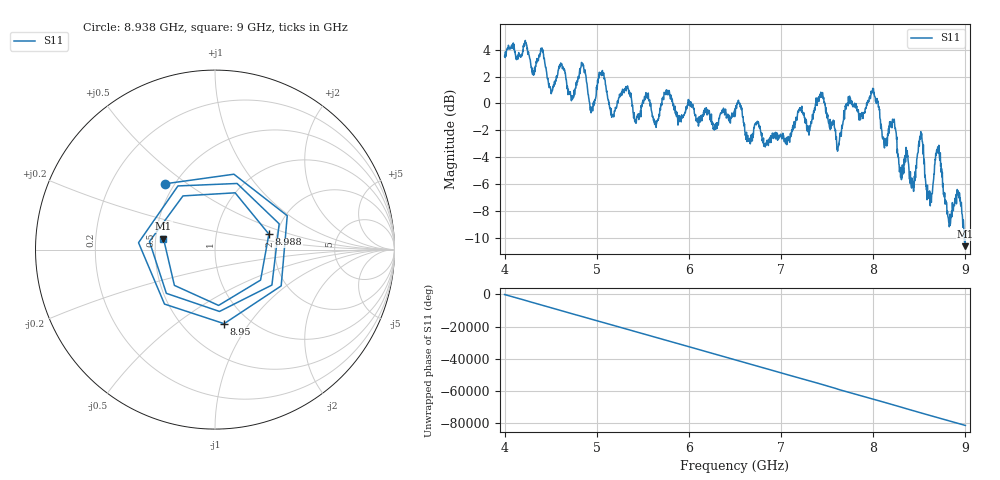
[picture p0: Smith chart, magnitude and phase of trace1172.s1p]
! Created with skrf 1.8.0 (http://scikit-rf.org).
# Hz S RI R 50.0
!freq ReS11 ImS11
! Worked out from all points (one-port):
!   1601 points, 4 GHz to 9 GHz, reference 50 ohm
!   lowest |S11| = -10.6 dB at 9 GHz (marker M1), VSWR 1.83, Z = 27.5 + j3.72 ohm
!   |S11| at or under -10 dB: 8.987332 GHz to end of sweep
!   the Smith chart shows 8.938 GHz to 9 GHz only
!   S11 on the Smith chart (normalised r, x): 8.938 GHz: 0.44, +0.41; 8.95 GHz: 0.77, -0.77; 8.988 GHz: 1.82, +0.35; 9 GHz: 0.55, +0.07
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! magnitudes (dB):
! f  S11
! 4 GHz  3.5
! 4.625 GHz  2.8
! 4.728 GHz  0.3
! 4.853 GHz  2.8
! 4.944 GHz  -0.4
! 5.053 GHz  2.1
! 5.162 GHz  -1.0
! 5.25 GHz  0.6
! 5.875 GHz  -0.9
! 6.5 GHz  -0.4
! 7.125 GHz  -1.8
! 7.438 GHz  0.5
! 7.619 GHz  -3.3
! 7.75 GHz  0.4
! 8.003 GHz  1.1
! 8.122 GHz  -3.3
! 8.216 GHz  -1.3
! 8.294 GHz  -4.8
! 8.375 GHz  -3.9
! 8.434 GHz  -5.8
! 8.519 GHz  -2.4
! 8.609 GHz  -6.6
! 8.703 GHz  -3.3
! 8.822 GHz  -8.7
! 8.938 GHz  -6.7
! 8.95 GHz  -7.6
! 8.988 GHz  -10.1
! 9 GHz  -10.6
